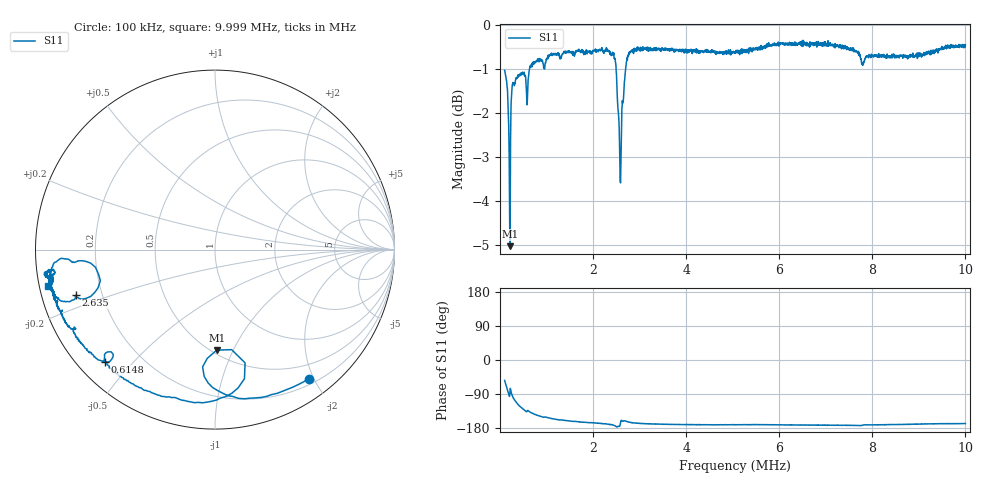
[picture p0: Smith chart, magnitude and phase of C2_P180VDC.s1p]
# HZ S RI R 50
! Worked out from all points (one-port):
!   2020 points, 100 kHz to 9.999 MHz, reference 50 ohm
!   lowest |S11| = -5.0 dB at 212.8 kHz (marker M1), VSWR 3.55, Z = 26.5 - j43.3 ohm
!   |S11| at or under -10 dB: nowhere
!   S11 on the Smith chart (normalised r, x): 100 kHz: 0.28, -1.93; 614.8 kHz: 0.08, -0.42; 2.635 MHz: 0.10, -0.16; 9.999 MHz: 0.03, -0.11
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100000  0.523 -0.7183
139224  0.2881 -0.8176
163739  0.1304 -0.8286
212769  0.00938 -0.5602
266702  -0.0696 -0.8536
291217  -0.1676 -0.8413
345150  -0.307 -0.813
423598  -0.4639 -0.7468
516755  -0.5827 -0.6599
614815  -0.6146 -0.6264
707972  -0.7035 -0.5714
859965  -0.7754 -0.4815
1340459  -0.8618 -0.3431
2232805  -0.9094 -0.1906
2428925  -0.9151 -0.1366
2477955  -0.9047 -0.0956
2531888  -0.8036 -0.0629
2576015  -0.6932 -0.0751
2634851  -0.7741 -0.2542
2732911  -0.8756 -0.2771
2835874  -0.9076 -0.2317
3816474  -0.9229 -0.1617
5052030  -0.9201 -0.1495
6287586  -0.9433 -0.1386
7528045  -0.9343 -0.1275
7802613  -0.8963 -0.1341
8763601  -0.9079 -0.163
9999157  -0.9289 -0.2021
